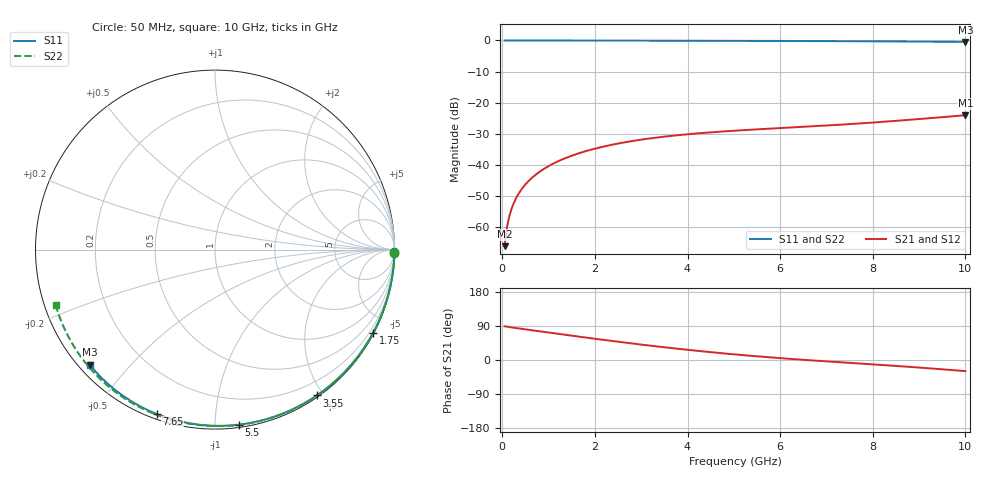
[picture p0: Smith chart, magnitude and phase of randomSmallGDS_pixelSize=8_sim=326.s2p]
! freq	dB(S11)	phase(S11)	dB(S12)	phase(S12)
!  dB(S21)	phase(S21)	dB(S22)	phase(S22)
!S-par simulation data
#  GHz  S  DB  R 50
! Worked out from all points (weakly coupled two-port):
!   200 points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, 50 MHz to 10 GHz, reference 50 ohm
!   highest |S21| = -24.03 dB at 10 GHz (marker M1); lowest = -66.1 dB at 50 MHz (marker M2)
!   lowest |S11| = -0.5 dB at 10 GHz (marker M3), VSWR 37.29, Z = 1.54 - j19.5 ohm
!   |S11| at or under -10 dB: nowhere
!   |S22| runs from -0.5 to 0.0 dB; largest |S21 - S12| = 0
!   S11 on the Smith chart (normalised r, x): 50 MHz: open; 1.75 GHz: 0.04, -4.03; 3.55 GHz: 0.02, -1.92; 5.5 GHz: 0.02, -1.14; 7.65 GHz: 0.02, -0.71; 10 GHz: 0.03, -0.39
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0.05  -0.00 -0.8  -66.10 89.0  -66.10 89.0  -0.00 -0.9
0.1  -0.00 -1.6  -60.09 88.0  -60.09 88.0  -0.00 -1.9
0.15  -0.00 -2.4  -56.58 87.0  -56.58 87.0  -0.00 -2.8
0.2  -0.00 -3.2  -54.10 86.0  -54.10 86.0  -0.00 -3.7
0.25  -0.00 -4.1  -52.19 85.1  -52.19 85.1  -0.00 -4.7
0.35  -0.00 -5.7  -49.30 83.4  -49.30 83.4  -0.00 -6.6
0.5  -0.01 -8.1  -46.25 80.8  -46.25 80.8  -0.01 -9.3
0.7  -0.01 -11.3  -43.38 77.5  -43.38 77.5  -0.01 -13.0
1  -0.02 -16.1  -40.37 72.5  -40.37 72.5  -0.02 -18.6
1.35  -0.03 -21.6  -37.88 66.6  -37.88 66.6  -0.03 -25.0
1.75  -0.04 -27.9  -35.80 60.1  -35.80 60.1  -0.04 -32.2
2.5  -0.05 -39.4  -33.12 48.2  -33.12 48.2  -0.06 -45.5
3.4  -0.07 -52.9  -31.08 35.0  -31.08 35.0  -0.08 -60.9
3.55  -0.08 -55.1  -30.82 32.9  -30.82 32.9  -0.09 -63.5
4.3  -0.10 -65.8  -29.76 23.1  -29.76 23.1  -0.11 -75.8
5.05  -0.12 -76.2  -28.97 14.4  -28.97 14.4  -0.14 -87.7
5.5  -0.14 -82.3  -28.57 9.7  -28.57 9.7  -0.16 -94.7
6.7  -0.19 -97.8  -27.59 -1.2  -27.59 -1.2  -0.22 -112.7
7.65  -0.25 -109.6  -26.73 -8.8  -26.73 -8.8  -0.29 -126.5
8.35  -0.30 -118.0  -26.00 -14.4  -26.00 -14.4  -0.35 -136.7
9.2  -0.38 -128.0  -25.01 -21.7  -25.01 -21.7  -0.44 -149.0
10  -0.47 -137.4  -24.03 -29.4  -24.03 -29.4  -0.54 -161.0
